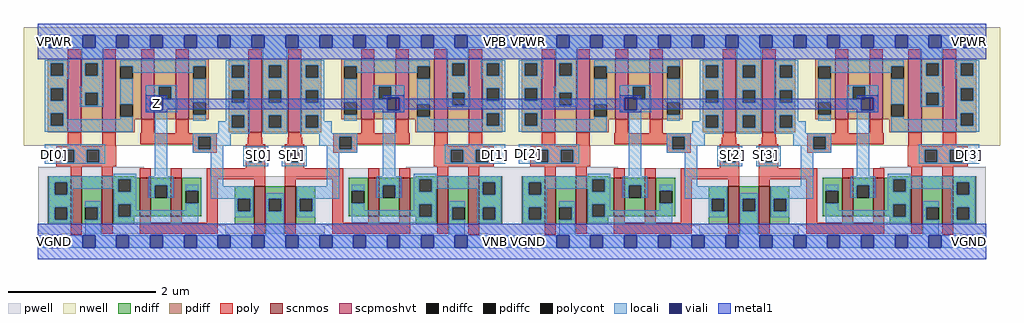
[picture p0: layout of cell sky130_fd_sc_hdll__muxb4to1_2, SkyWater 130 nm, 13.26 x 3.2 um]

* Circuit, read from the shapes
.subckt sky130_fd_sc_hdll__muxb4to1_2 D[3] D[2] D[1] D[0] S[3] S[2] S[1] S[0] VGND VNB VPB VPWR Z
XM1 VGND D[0] n1 VNB sky130_fd_pr__nfet_01v8 w=0.65 l=0.15 m=2
XM2 Z S[0] n1 VNB sky130_fd_pr__nfet_01v8 w=0.52 l=0.15 m=2
XM3 VGND S[0] n2 VNB sky130_fd_pr__nfet_01v8 w=0.52 l=0.15
XM4 n3 S[1] VGND VNB sky130_fd_pr__nfet_01v8 w=0.52 l=0.15
XM5 Z S[1] n4 VNB sky130_fd_pr__nfet_01v8 w=0.52 l=0.15 m=2
XM6 VGND D[1] n4 VNB sky130_fd_pr__nfet_01v8 w=0.65 l=0.15 m=2
XM7 VGND D[2] n5 VNB sky130_fd_pr__nfet_01v8 w=0.65 l=0.15 m=2
XM8 Z S[2] n5 VNB sky130_fd_pr__nfet_01v8 w=0.52 l=0.15 m=2
XM9 VGND S[2] n6 VNB sky130_fd_pr__nfet_01v8 w=0.52 l=0.15
XM10 n7 S[3] VGND VNB sky130_fd_pr__nfet_01v8 w=0.52 l=0.15
XM11 Z S[3] n8 VNB sky130_fd_pr__nfet_01v8 w=0.52 l=0.15 m=2
XM12 VGND D[3] n8 VNB sky130_fd_pr__nfet_01v8 w=0.65 l=0.15 m=2
XM13 VPWR D[0] n9 VPB sky130_fd_pr__pfet_01v8_hvt w=1 l=0.18 m=2
XM14 Z n2 n9 VPB sky130_fd_pr__pfet_01v8_hvt w=0.82 l=0.18 m=2
XM15 VPWR S[0] n2 VPB sky130_fd_pr__pfet_01v8_hvt w=1 l=0.18
XM16 n3 S[1] VPWR VPB sky130_fd_pr__pfet_01v8_hvt w=1 l=0.18
XM17 Z n3 n10 VPB sky130_fd_pr__pfet_01v8_hvt w=0.82 l=0.18 m=2
XM18 VPWR D[1] n10 VPB sky130_fd_pr__pfet_01v8_hvt w=1 l=0.18 m=2
XM19 VPWR D[2] n11 VPB sky130_fd_pr__pfet_01v8_hvt w=1 l=0.18 m=2
XM20 Z n6 n11 VPB sky130_fd_pr__pfet_01v8_hvt w=0.82 l=0.18 m=2
XM21 VPWR S[2] n6 VPB sky130_fd_pr__pfet_01v8_hvt w=1 l=0.18
XM22 n7 S[3] VPWR VPB sky130_fd_pr__pfet_01v8_hvt w=1 l=0.18
XM23 Z n7 n12 VPB sky130_fd_pr__pfet_01v8_hvt w=0.82 l=0.18 m=2
XM24 VPWR D[3] n12 VPB sky130_fd_pr__pfet_01v8_hvt w=1 l=0.18 m=2
.ends

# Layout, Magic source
magic
tech sky130A
magscale 1 2
<< nwell >>
rect -38 261 2614 582
<< pwell >>
rect 1 199 288 203
rect 1000 199 1576 203
rect 2288 199 2575 203
rect 1 177 469 199
rect 819 177 1757 199
rect 2107 177 2575 199
rect 1 43 2575 177
rect 1 21 288 43
rect 509 21 779 43
rect 1000 21 1576 43
rect 1797 21 2067 43
rect 2288 21 2575 43
rect 29 -17 63 21
rect 1225 -17 1351 21
rect 2513 -17 2547 21
<< scnmos >>
rect 89 47 119 177
rect 173 47 203 177
rect 277 69 307 173
rect 361 69 391 173
rect 587 47 617 151
rect 671 47 701 151
rect 897 69 927 173
rect 981 69 1011 173
rect 1085 47 1115 177
rect 1169 47 1199 177
rect 1377 47 1407 177
rect 1461 47 1491 177
rect 1565 69 1595 173
rect 1649 69 1679 173
rect 1875 47 1905 151
rect 1959 47 1989 151
rect 2185 69 2215 173
rect 2269 69 2299 173
rect 2373 47 2403 177
rect 2457 47 2487 177
<< scpmoshvt >>
rect 81 297 117 497
rect 175 297 211 497
rect 280 333 316 497
rect 374 333 410 497
rect 572 297 608 497
rect 680 297 716 497
rect 878 333 914 497
rect 972 333 1008 497
rect 1077 297 1113 497
rect 1171 297 1207 497
rect 1369 297 1405 497
rect 1463 297 1499 497
rect 1568 333 1604 497
rect 1662 333 1698 497
rect 1860 297 1896 497
rect 1968 297 2004 497
rect 2166 333 2202 497
rect 2260 333 2296 497
rect 2365 297 2401 497
rect 2459 297 2495 497
<< ndiff >>
rect 27 161 89 177
rect 27 127 45 161
rect 79 127 89 161
rect 27 93 89 127
rect 27 59 45 93
rect 79 59 89 93
rect 27 47 89 59
rect 119 93 173 177
rect 119 59 129 93
rect 163 59 173 93
rect 119 47 173 59
rect 203 173 262 177
rect 203 169 277 173
rect 203 135 218 169
rect 252 135 277 169
rect 203 101 277 135
rect 203 67 218 101
rect 252 69 277 101
rect 307 153 361 173
rect 307 119 317 153
rect 351 119 361 153
rect 307 69 361 119
rect 391 138 443 173
rect 391 104 401 138
rect 435 104 443 138
rect 391 69 443 104
rect 252 67 262 69
rect 203 47 262 67
rect 1026 173 1085 177
rect 535 116 587 151
rect 535 82 543 116
rect 577 82 587 116
rect 535 47 587 82
rect 617 116 671 151
rect 617 82 627 116
rect 661 82 671 116
rect 617 47 671 82
rect 701 116 753 151
rect 701 82 711 116
rect 745 82 753 116
rect 701 47 753 82
rect 845 138 897 173
rect 845 104 853 138
rect 887 104 897 138
rect 845 69 897 104
rect 927 153 981 173
rect 927 119 937 153
rect 971 119 981 153
rect 927 69 981 119
rect 1011 169 1085 173
rect 1011 135 1036 169
rect 1070 135 1085 169
rect 1011 101 1085 135
rect 1011 69 1036 101
rect 1026 67 1036 69
rect 1070 67 1085 101
rect 1026 47 1085 67
rect 1115 93 1169 177
rect 1115 59 1125 93
rect 1159 59 1169 93
rect 1115 47 1169 59
rect 1199 161 1261 177
rect 1199 127 1209 161
rect 1243 127 1261 161
rect 1199 93 1261 127
rect 1199 59 1209 93
rect 1243 59 1261 93
rect 1199 47 1261 59
rect 1315 161 1377 177
rect 1315 127 1333 161
rect 1367 127 1377 161
rect 1315 93 1377 127
rect 1315 59 1333 93
rect 1367 59 1377 93
rect 1315 47 1377 59
rect 1407 93 1461 177
rect 1407 59 1417 93
rect 1451 59 1461 93
rect 1407 47 1461 59
rect 1491 173 1550 177
rect 1491 169 1565 173
rect 1491 135 1506 169
rect 1540 135 1565 169
rect 1491 101 1565 135
rect 1491 67 1506 101
rect 1540 69 1565 101
rect 1595 153 1649 173
rect 1595 119 1605 153
rect 1639 119 1649 153
rect 1595 69 1649 119
rect 1679 138 1731 173
rect 1679 104 1689 138
rect 1723 104 1731 138
rect 1679 69 1731 104
rect 1540 67 1550 69
rect 1491 47 1550 67
rect 2314 173 2373 177
rect 1823 116 1875 151
rect 1823 82 1831 116
rect 1865 82 1875 116
rect 1823 47 1875 82
rect 1905 116 1959 151
rect 1905 82 1915 116
rect 1949 82 1959 116
rect 1905 47 1959 82
rect 1989 116 2041 151
rect 1989 82 1999 116
rect 2033 82 2041 116
rect 1989 47 2041 82
rect 2133 138 2185 173
rect 2133 104 2141 138
rect 2175 104 2185 138
rect 2133 69 2185 104
rect 2215 153 2269 173
rect 2215 119 2225 153
rect 2259 119 2269 153
rect 2215 69 2269 119
rect 2299 169 2373 173
rect 2299 135 2324 169
rect 2358 135 2373 169
rect 2299 101 2373 135
rect 2299 69 2324 101
rect 2314 67 2324 69
rect 2358 67 2373 101
rect 2314 47 2373 67
rect 2403 93 2457 177
rect 2403 59 2413 93
rect 2447 59 2457 93
rect 2403 47 2457 59
rect 2487 161 2549 177
rect 2487 127 2497 161
rect 2531 127 2549 161
rect 2487 93 2549 127
rect 2487 59 2497 93
rect 2531 59 2549 93
rect 2487 47 2549 59
<< pdiff >>
rect 27 485 81 497
rect 27 451 35 485
rect 69 451 81 485
rect 27 417 81 451
rect 27 383 35 417
rect 69 383 81 417
rect 27 349 81 383
rect 27 315 35 349
rect 69 315 81 349
rect 27 297 81 315
rect 117 485 175 497
rect 117 451 129 485
rect 163 451 175 485
rect 117 405 175 451
rect 117 371 129 405
rect 163 371 175 405
rect 117 297 175 371
rect 211 477 280 497
rect 211 443 223 477
rect 257 443 280 477
rect 211 373 280 443
rect 211 339 223 373
rect 257 339 280 373
rect 211 333 280 339
rect 316 421 374 497
rect 316 387 328 421
rect 362 387 374 421
rect 316 333 374 387
rect 410 477 464 497
rect 410 443 422 477
rect 456 443 464 477
rect 410 379 464 443
rect 410 345 422 379
rect 456 345 464 379
rect 410 333 464 345
rect 518 479 572 497
rect 518 445 526 479
rect 560 445 572 479
rect 518 411 572 445
rect 518 377 526 411
rect 560 377 572 411
rect 518 343 572 377
rect 211 297 263 333
rect 518 309 526 343
rect 560 309 572 343
rect 518 297 572 309
rect 608 479 680 497
rect 608 445 627 479
rect 661 445 680 479
rect 608 411 680 445
rect 608 377 627 411
rect 661 377 680 411
rect 608 343 680 377
rect 608 309 627 343
rect 661 309 680 343
rect 608 297 680 309
rect 716 479 770 497
rect 716 445 728 479
rect 762 445 770 479
rect 716 411 770 445
rect 716 377 728 411
rect 762 377 770 411
rect 716 343 770 377
rect 716 309 728 343
rect 762 309 770 343
rect 824 477 878 497
rect 824 443 832 477
rect 866 443 878 477
rect 824 379 878 443
rect 824 345 832 379
rect 866 345 878 379
rect 824 333 878 345
rect 914 421 972 497
rect 914 387 926 421
rect 960 387 972 421
rect 914 333 972 387
rect 1008 477 1077 497
rect 1008 443 1031 477
rect 1065 443 1077 477
rect 1008 373 1077 443
rect 1008 339 1031 373
rect 1065 339 1077 373
rect 1008 333 1077 339
rect 716 297 770 309
rect 1025 297 1077 333
rect 1113 485 1171 497
rect 1113 451 1125 485
rect 1159 451 1171 485
rect 1113 405 1171 451
rect 1113 371 1125 405
rect 1159 371 1171 405
rect 1113 297 1171 371
rect 1207 485 1261 497
rect 1207 451 1219 485
rect 1253 451 1261 485
rect 1207 417 1261 451
rect 1207 383 1219 417
rect 1253 383 1261 417
rect 1207 349 1261 383
rect 1207 315 1219 349
rect 1253 315 1261 349
rect 1207 297 1261 315
rect 1315 485 1369 497
rect 1315 451 1323 485
rect 1357 451 1369 485
rect 1315 417 1369 451
rect 1315 383 1323 417
rect 1357 383 1369 417
rect 1315 349 1369 383
rect 1315 315 1323 349
rect 1357 315 1369 349
rect 1315 297 1369 315
rect 1405 485 1463 497
rect 1405 451 1417 485
rect 1451 451 1463 485
rect 1405 405 1463 451
rect 1405 371 1417 405
rect 1451 371 1463 405
rect 1405 297 1463 371
rect 1499 477 1568 497
rect 1499 443 1511 477
rect 1545 443 1568 477
rect 1499 373 1568 443
rect 1499 339 1511 373
rect 1545 339 1568 373
rect 1499 333 1568 339
rect 1604 421 1662 497
rect 1604 387 1616 421
rect 1650 387 1662 421
rect 1604 333 1662 387
rect 1698 477 1752 497
rect 1698 443 1710 477
rect 1744 443 1752 477
rect 1698 379 1752 443
rect 1698 345 1710 379
rect 1744 345 1752 379
rect 1698 333 1752 345
rect 1806 479 1860 497
rect 1806 445 1814 479
rect 1848 445 1860 479
rect 1806 411 1860 445
rect 1806 377 1814 411
rect 1848 377 1860 411
rect 1806 343 1860 377
rect 1499 297 1551 333
rect 1806 309 1814 343
rect 1848 309 1860 343
rect 1806 297 1860 309
rect 1896 479 1968 497
rect 1896 445 1915 479
rect 1949 445 1968 479
rect 1896 411 1968 445
rect 1896 377 1915 411
rect 1949 377 1968 411
rect 1896 343 1968 377
rect 1896 309 1915 343
rect 1949 309 1968 343
rect 1896 297 1968 309
rect 2004 479 2058 497
rect 2004 445 2016 479
rect 2050 445 2058 479
rect 2004 411 2058 445
rect 2004 377 2016 411
rect 2050 377 2058 411
rect 2004 343 2058 377
rect 2004 309 2016 343
rect 2050 309 2058 343
rect 2112 477 2166 497
rect 2112 443 2120 477
rect 2154 443 2166 477
rect 2112 379 2166 443
rect 2112 345 2120 379
rect 2154 345 2166 379
rect 2112 333 2166 345
rect 2202 421 2260 497
rect 2202 387 2214 421
rect 2248 387 2260 421
rect 2202 333 2260 387
rect 2296 477 2365 497
rect 2296 443 2319 477
rect 2353 443 2365 477
rect 2296 373 2365 443
rect 2296 339 2319 373
rect 2353 339 2365 373
rect 2296 333 2365 339
rect 2004 297 2058 309
rect 2313 297 2365 333
rect 2401 485 2459 497
rect 2401 451 2413 485
rect 2447 451 2459 485
rect 2401 405 2459 451
rect 2401 371 2413 405
rect 2447 371 2459 405
rect 2401 297 2459 371
rect 2495 485 2549 497
rect 2495 451 2507 485
rect 2541 451 2549 485
rect 2495 417 2549 451
rect 2495 383 2507 417
rect 2541 383 2549 417
rect 2495 349 2549 383
rect 2495 315 2507 349
rect 2541 315 2549 349
rect 2495 297 2549 315
<< ndiffc >>
rect 45 127 79 161
rect 45 59 79 93
rect 129 59 163 93
rect 218 135 252 169
rect 218 67 252 101
rect 317 119 351 153
rect 401 104 435 138
rect 543 82 577 116
rect 627 82 661 116
rect 711 82 745 116
rect 853 104 887 138
rect 937 119 971 153
rect 1036 135 1070 169
rect 1036 67 1070 101
rect 1125 59 1159 93
rect 1209 127 1243 161
rect 1209 59 1243 93
rect 1333 127 1367 161
rect 1333 59 1367 93
rect 1417 59 1451 93
rect 1506 135 1540 169
rect 1506 67 1540 101
rect 1605 119 1639 153
rect 1689 104 1723 138
rect 1831 82 1865 116
rect 1915 82 1949 116
rect 1999 82 2033 116
rect 2141 104 2175 138
rect 2225 119 2259 153
rect 2324 135 2358 169
rect 2324 67 2358 101
rect 2413 59 2447 93
rect 2497 127 2531 161
rect 2497 59 2531 93
<< pdiffc >>
rect 35 451 69 485
rect 35 383 69 417
rect 35 315 69 349
rect 129 451 163 485
rect 129 371 163 405
rect 223 443 257 477
rect 223 339 257 373
rect 328 387 362 421
rect 422 443 456 477
rect 422 345 456 379
rect 526 445 560 479
rect 526 377 560 411
rect 526 309 560 343
rect 627 445 661 479
rect 627 377 661 411
rect 627 309 661 343
rect 728 445 762 479
rect 728 377 762 411
rect 728 309 762 343
rect 832 443 866 477
rect 832 345 866 379
rect 926 387 960 421
rect 1031 443 1065 477
rect 1031 339 1065 373
rect 1125 451 1159 485
rect 1125 371 1159 405
rect 1219 451 1253 485
rect 1219 383 1253 417
rect 1219 315 1253 349
rect 1323 451 1357 485
rect 1323 383 1357 417
rect 1323 315 1357 349
rect 1417 451 1451 485
rect 1417 371 1451 405
rect 1511 443 1545 477
rect 1511 339 1545 373
rect 1616 387 1650 421
rect 1710 443 1744 477
rect 1710 345 1744 379
rect 1814 445 1848 479
rect 1814 377 1848 411
rect 1814 309 1848 343
rect 1915 445 1949 479
rect 1915 377 1949 411
rect 1915 309 1949 343
rect 2016 445 2050 479
rect 2016 377 2050 411
rect 2016 309 2050 343
rect 2120 443 2154 477
rect 2120 345 2154 379
rect 2214 387 2248 421
rect 2319 443 2353 477
rect 2319 339 2353 373
rect 2413 451 2447 485
rect 2413 371 2447 405
rect 2507 451 2541 485
rect 2507 383 2541 417
rect 2507 315 2541 349
<< poly >>
rect 81 497 117 523
rect 175 497 211 523
rect 280 497 316 523
rect 374 497 410 523
rect 572 497 608 523
rect 680 497 716 523
rect 878 497 914 523
rect 972 497 1008 523
rect 1077 497 1113 523
rect 1171 497 1207 523
rect 1369 497 1405 523
rect 1463 497 1499 523
rect 1568 497 1604 523
rect 1662 497 1698 523
rect 1860 497 1896 523
rect 1968 497 2004 523
rect 2166 497 2202 523
rect 2260 497 2296 523
rect 2365 497 2401 523
rect 2459 497 2495 523
rect 81 259 117 297
rect 175 259 211 297
rect 280 295 316 333
rect 374 295 410 333
rect 278 285 486 295
rect 278 265 436 285
rect 49 249 213 259
rect 49 215 65 249
rect 99 215 133 249
rect 167 215 213 249
rect 420 251 436 265
rect 470 251 486 285
rect 572 282 608 297
rect 680 282 716 297
rect 878 295 914 333
rect 972 295 1008 333
rect 802 285 1010 295
rect 570 265 610 282
rect 678 265 718 282
rect 420 241 486 251
rect 564 249 618 265
rect 49 205 213 215
rect 564 215 574 249
rect 608 215 618 249
rect 89 177 119 205
rect 173 177 203 205
rect 564 199 618 215
rect 670 249 724 265
rect 670 215 680 249
rect 714 215 724 249
rect 802 251 818 285
rect 852 265 1010 285
rect 852 251 868 265
rect 1077 259 1113 297
rect 1171 259 1207 297
rect 1369 259 1405 297
rect 1463 259 1499 297
rect 1568 295 1604 333
rect 1662 295 1698 333
rect 1566 285 1774 295
rect 1566 265 1724 285
rect 802 241 868 251
rect 1075 249 1239 259
rect 670 199 724 215
rect 1075 215 1121 249
rect 1155 215 1189 249
rect 1223 215 1239 249
rect 1075 205 1239 215
rect 1337 249 1501 259
rect 1337 215 1353 249
rect 1387 215 1421 249
rect 1455 215 1501 249
rect 1708 251 1724 265
rect 1758 251 1774 285
rect 1860 282 1896 297
rect 1968 282 2004 297
rect 2166 295 2202 333
rect 2260 295 2296 333
rect 2090 285 2298 295
rect 1858 265 1898 282
rect 1966 265 2006 282
rect 1708 241 1774 251
rect 1852 249 1906 265
rect 1337 205 1501 215
rect 1852 215 1862 249
rect 1896 215 1906 249
rect 277 173 307 199
rect 361 173 391 199
rect 458 169 617 199
rect 277 51 307 69
rect 361 51 391 69
rect 458 51 488 169
rect 587 151 617 169
rect 671 169 830 199
rect 897 173 927 199
rect 981 173 1011 199
rect 1085 177 1115 205
rect 1169 177 1199 205
rect 1377 177 1407 205
rect 1461 177 1491 205
rect 1852 199 1906 215
rect 1958 249 2012 265
rect 1958 215 1968 249
rect 2002 215 2012 249
rect 2090 251 2106 285
rect 2140 265 2298 285
rect 2140 251 2156 265
rect 2365 259 2401 297
rect 2459 259 2495 297
rect 2090 241 2156 251
rect 2363 249 2527 259
rect 1958 199 2012 215
rect 2363 215 2409 249
rect 2443 215 2477 249
rect 2511 215 2527 249
rect 2363 205 2527 215
rect 671 151 701 169
rect 89 19 119 47
rect 173 21 203 47
rect 277 21 488 51
rect 800 51 830 169
rect 897 51 927 69
rect 981 51 1011 69
rect 587 21 617 47
rect 671 21 701 47
rect 800 21 1011 51
rect 1565 173 1595 199
rect 1649 173 1679 199
rect 1746 169 1905 199
rect 1565 51 1595 69
rect 1649 51 1679 69
rect 1746 51 1776 169
rect 1875 151 1905 169
rect 1959 169 2118 199
rect 2185 173 2215 199
rect 2269 173 2299 199
rect 2373 177 2403 205
rect 2457 177 2487 205
rect 1959 151 1989 169
rect 1085 21 1115 47
rect 1169 19 1199 47
rect 1377 19 1407 47
rect 1461 21 1491 47
rect 1565 21 1776 51
rect 2088 51 2118 169
rect 2185 51 2215 69
rect 2269 51 2299 69
rect 1875 21 1905 47
rect 1959 21 1989 47
rect 2088 21 2299 51
rect 2373 21 2403 47
rect 2457 19 2487 47
<< polycont >>
rect 65 215 99 249
rect 133 215 167 249
rect 436 251 470 285
rect 574 215 608 249
rect 680 215 714 249
rect 818 251 852 285
rect 1121 215 1155 249
rect 1189 215 1223 249
rect 1353 215 1387 249
rect 1421 215 1455 249
rect 1724 251 1758 285
rect 1862 215 1896 249
rect 1968 215 2002 249
rect 2106 251 2140 285
rect 2409 215 2443 249
rect 2477 215 2511 249
<< locali >>
rect 0 527 29 561
rect 63 527 121 561
rect 155 527 213 561
rect 247 527 305 561
rect 339 527 397 561
rect 431 527 489 561
rect 523 527 581 561
rect 615 527 673 561
rect 707 527 765 561
rect 799 527 857 561
rect 891 527 949 561
rect 983 527 1041 561
rect 1075 527 1133 561
rect 1167 527 1225 561
rect 1259 527 1317 561
rect 1351 527 1409 561
rect 1443 527 1501 561
rect 1535 527 1593 561
rect 1627 527 1685 561
rect 1719 527 1777 561
rect 1811 527 1869 561
rect 1903 527 1961 561
rect 1995 527 2053 561
rect 2087 527 2145 561
rect 2179 527 2237 561
rect 2271 527 2329 561
rect 2363 527 2421 561
rect 2455 527 2513 561
rect 2547 527 2576 561
rect 19 485 85 493
rect 19 451 35 485
rect 69 451 85 485
rect 19 442 85 451
rect 119 485 179 527
rect 119 451 129 485
rect 163 451 179 485
rect 19 417 79 442
rect 119 421 179 451
rect 19 383 35 417
rect 69 383 79 417
rect 19 349 79 383
rect 113 405 179 421
rect 113 371 129 405
rect 163 371 179 405
rect 113 367 179 371
rect 223 477 456 493
rect 257 459 422 477
rect 223 373 257 443
rect 19 315 35 349
rect 69 333 79 349
rect 293 421 379 425
rect 293 391 328 421
rect 293 357 305 391
rect 362 387 379 421
rect 339 357 379 387
rect 293 351 379 357
rect 422 379 456 443
rect 223 333 257 339
rect 69 315 257 333
rect 19 299 257 315
rect 19 249 183 265
rect 19 215 65 249
rect 99 215 133 249
rect 167 215 183 249
rect 19 211 183 215
rect 206 177 267 185
rect 317 177 351 351
rect 422 329 456 345
rect 510 479 576 493
rect 510 445 526 479
rect 560 445 576 479
rect 510 411 576 445
rect 510 377 526 411
rect 560 377 576 411
rect 510 343 576 377
rect 510 327 526 343
rect 490 309 526 327
rect 560 309 576 343
rect 490 295 576 309
rect 420 293 576 295
rect 611 479 677 527
rect 611 445 627 479
rect 661 445 677 479
rect 611 411 677 445
rect 611 377 627 411
rect 661 377 677 411
rect 611 343 677 377
rect 611 309 627 343
rect 661 309 677 343
rect 611 293 677 309
rect 712 479 778 493
rect 712 445 728 479
rect 762 445 778 479
rect 712 411 778 445
rect 712 377 728 411
rect 762 377 778 411
rect 712 343 778 377
rect 712 309 728 343
rect 762 327 778 343
rect 832 477 1065 493
rect 866 459 1031 477
rect 832 379 866 443
rect 909 421 995 425
rect 909 387 926 421
rect 960 391 995 421
rect 909 357 949 387
rect 983 357 995 391
rect 909 351 995 357
rect 1031 373 1065 443
rect 832 329 866 345
rect 762 309 798 327
rect 712 295 798 309
rect 712 293 868 295
rect 420 285 524 293
rect 420 251 436 285
rect 470 261 524 285
rect 764 285 868 293
rect 764 261 818 285
rect 470 251 503 261
rect 420 241 503 251
rect 29 169 267 177
rect 29 161 218 169
rect 29 127 45 161
rect 79 143 218 161
rect 79 127 95 143
rect 29 93 95 127
rect 206 135 218 143
rect 252 135 267 169
rect 29 59 45 93
rect 79 59 95 93
rect 29 51 95 59
rect 129 93 172 109
rect 163 59 172 93
rect 129 17 172 59
rect 206 101 267 135
rect 301 153 367 177
rect 301 119 317 153
rect 351 119 367 153
rect 401 138 435 154
rect 206 67 218 101
rect 252 85 267 101
rect 469 151 503 241
rect 558 249 625 259
rect 558 215 574 249
rect 608 215 625 249
rect 558 205 625 215
rect 663 249 730 259
rect 663 215 680 249
rect 714 215 730 249
rect 663 205 730 215
rect 785 251 818 261
rect 852 251 868 285
rect 785 241 868 251
rect 785 151 819 241
rect 937 177 971 351
rect 1109 485 1169 527
rect 1109 451 1125 485
rect 1159 451 1169 485
rect 1109 421 1169 451
rect 1203 485 1269 493
rect 1203 451 1219 485
rect 1253 451 1269 485
rect 1203 442 1269 451
rect 1109 405 1175 421
rect 1109 371 1125 405
rect 1159 371 1175 405
rect 1109 367 1175 371
rect 1209 417 1269 442
rect 1209 383 1219 417
rect 1253 383 1269 417
rect 1031 333 1065 339
rect 1209 349 1269 383
rect 1209 333 1219 349
rect 1031 315 1219 333
rect 1253 315 1269 349
rect 1031 299 1269 315
rect 1307 485 1373 493
rect 1307 451 1323 485
rect 1357 451 1373 485
rect 1307 442 1373 451
rect 1407 485 1467 527
rect 1407 451 1417 485
rect 1451 451 1467 485
rect 1307 417 1367 442
rect 1407 421 1467 451
rect 1307 383 1323 417
rect 1357 383 1367 417
rect 1307 349 1367 383
rect 1401 405 1467 421
rect 1401 371 1417 405
rect 1451 371 1467 405
rect 1401 367 1467 371
rect 1511 477 1744 493
rect 1545 459 1710 477
rect 1511 373 1545 443
rect 1307 315 1323 349
rect 1357 333 1367 349
rect 1581 421 1667 425
rect 1581 391 1616 421
rect 1581 357 1593 391
rect 1650 387 1667 421
rect 1627 357 1667 387
rect 1581 351 1667 357
rect 1710 379 1744 443
rect 1511 333 1545 339
rect 1357 315 1545 333
rect 1307 299 1545 315
rect 1105 249 1269 265
rect 1105 215 1121 249
rect 1155 215 1189 249
rect 1223 215 1269 249
rect 1105 211 1269 215
rect 1307 249 1471 265
rect 1307 215 1353 249
rect 1387 215 1421 249
rect 1455 215 1471 249
rect 1307 211 1471 215
rect 1021 177 1082 185
rect 1494 177 1555 185
rect 1605 177 1639 351
rect 1710 329 1744 345
rect 1798 479 1864 493
rect 1798 445 1814 479
rect 1848 445 1864 479
rect 1798 411 1864 445
rect 1798 377 1814 411
rect 1848 377 1864 411
rect 1798 343 1864 377
rect 1798 327 1814 343
rect 1778 309 1814 327
rect 1848 309 1864 343
rect 1778 295 1864 309
rect 1708 293 1864 295
rect 1899 479 1965 527
rect 1899 445 1915 479
rect 1949 445 1965 479
rect 1899 411 1965 445
rect 1899 377 1915 411
rect 1949 377 1965 411
rect 1899 343 1965 377
rect 1899 309 1915 343
rect 1949 309 1965 343
rect 1899 293 1965 309
rect 2000 479 2066 493
rect 2000 445 2016 479
rect 2050 445 2066 479
rect 2000 411 2066 445
rect 2000 377 2016 411
rect 2050 377 2066 411
rect 2000 343 2066 377
rect 2000 309 2016 343
rect 2050 327 2066 343
rect 2120 477 2353 493
rect 2154 459 2319 477
rect 2120 379 2154 443
rect 2197 421 2283 425
rect 2197 387 2214 421
rect 2248 391 2283 421
rect 2197 357 2237 387
rect 2271 357 2283 391
rect 2197 351 2283 357
rect 2319 373 2353 443
rect 2120 329 2154 345
rect 2050 309 2086 327
rect 2000 295 2086 309
rect 2000 293 2156 295
rect 1708 285 1812 293
rect 1708 251 1724 285
rect 1758 261 1812 285
rect 2052 285 2156 293
rect 2052 261 2106 285
rect 1758 251 1791 261
rect 1708 241 1791 251
rect 469 117 585 151
rect 401 85 435 104
rect 252 67 435 85
rect 206 51 435 67
rect 535 116 585 117
rect 535 82 543 116
rect 577 82 585 116
rect 535 66 585 82
rect 619 116 669 132
rect 619 82 627 116
rect 661 82 669 116
rect 619 17 669 82
rect 703 117 819 151
rect 853 138 887 154
rect 703 116 753 117
rect 703 82 711 116
rect 745 82 753 116
rect 703 66 753 82
rect 921 153 987 177
rect 921 119 937 153
rect 971 119 987 153
rect 1021 169 1259 177
rect 1021 135 1036 169
rect 1070 161 1259 169
rect 1070 143 1209 161
rect 1070 135 1082 143
rect 853 85 887 104
rect 1021 101 1082 135
rect 1193 127 1209 143
rect 1243 127 1259 161
rect 1021 85 1036 101
rect 853 67 1036 85
rect 1070 67 1082 101
rect 853 51 1082 67
rect 1116 93 1159 109
rect 1116 59 1125 93
rect 1116 17 1159 59
rect 1193 93 1259 127
rect 1193 59 1209 93
rect 1243 59 1259 93
rect 1193 51 1259 59
rect 1317 169 1555 177
rect 1317 161 1506 169
rect 1317 127 1333 161
rect 1367 143 1506 161
rect 1367 127 1383 143
rect 1317 93 1383 127
rect 1494 135 1506 143
rect 1540 135 1555 169
rect 1317 59 1333 93
rect 1367 59 1383 93
rect 1317 51 1383 59
rect 1417 93 1460 109
rect 1451 59 1460 93
rect 1417 17 1460 59
rect 1494 101 1555 135
rect 1589 153 1655 177
rect 1589 119 1605 153
rect 1639 119 1655 153
rect 1689 138 1723 154
rect 1494 67 1506 101
rect 1540 85 1555 101
rect 1757 151 1791 241
rect 1846 249 1913 259
rect 1846 215 1862 249
rect 1896 215 1913 249
rect 1846 205 1913 215
rect 1951 249 2018 259
rect 1951 215 1968 249
rect 2002 215 2018 249
rect 1951 205 2018 215
rect 2073 251 2106 261
rect 2140 251 2156 285
rect 2073 241 2156 251
rect 2073 151 2107 241
rect 2225 177 2259 351
rect 2397 485 2457 527
rect 2397 451 2413 485
rect 2447 451 2457 485
rect 2397 421 2457 451
rect 2491 485 2557 493
rect 2491 451 2507 485
rect 2541 451 2557 485
rect 2491 442 2557 451
rect 2397 405 2463 421
rect 2397 371 2413 405
rect 2447 371 2463 405
rect 2397 367 2463 371
rect 2497 417 2557 442
rect 2497 383 2507 417
rect 2541 383 2557 417
rect 2319 333 2353 339
rect 2497 349 2557 383
rect 2497 333 2507 349
rect 2319 315 2507 333
rect 2541 315 2557 349
rect 2319 299 2557 315
rect 2393 249 2557 265
rect 2393 215 2409 249
rect 2443 215 2477 249
rect 2511 215 2557 249
rect 2393 211 2557 215
rect 2309 177 2370 185
rect 1757 117 1873 151
rect 1689 85 1723 104
rect 1540 67 1723 85
rect 1494 51 1723 67
rect 1823 116 1873 117
rect 1823 82 1831 116
rect 1865 82 1873 116
rect 1823 66 1873 82
rect 1907 116 1957 132
rect 1907 82 1915 116
rect 1949 82 1957 116
rect 1907 17 1957 82
rect 1991 117 2107 151
rect 2141 138 2175 154
rect 1991 116 2041 117
rect 1991 82 1999 116
rect 2033 82 2041 116
rect 1991 66 2041 82
rect 2209 153 2275 177
rect 2209 119 2225 153
rect 2259 119 2275 153
rect 2309 169 2547 177
rect 2309 135 2324 169
rect 2358 161 2547 169
rect 2358 143 2497 161
rect 2358 135 2370 143
rect 2141 85 2175 104
rect 2309 101 2370 135
rect 2481 127 2497 143
rect 2531 127 2547 161
rect 2309 85 2324 101
rect 2141 67 2324 85
rect 2358 67 2370 101
rect 2141 51 2370 67
rect 2404 93 2447 109
rect 2404 59 2413 93
rect 2404 17 2447 59
rect 2481 93 2547 127
rect 2481 59 2497 93
rect 2531 59 2547 93
rect 2481 51 2547 59
rect 0 -17 29 17
rect 63 -17 121 17
rect 155 -17 213 17
rect 247 -17 305 17
rect 339 -17 397 17
rect 431 -17 489 17
rect 523 -17 581 17
rect 615 -17 673 17
rect 707 -17 765 17
rect 799 -17 857 17
rect 891 -17 949 17
rect 983 -17 1041 17
rect 1075 -17 1133 17
rect 1167 -17 1225 17
rect 1259 -17 1317 17
rect 1351 -17 1409 17
rect 1443 -17 1501 17
rect 1535 -17 1593 17
rect 1627 -17 1685 17
rect 1719 -17 1777 17
rect 1811 -17 1869 17
rect 1903 -17 1961 17
rect 1995 -17 2053 17
rect 2087 -17 2145 17
rect 2179 -17 2237 17
rect 2271 -17 2329 17
rect 2363 -17 2421 17
rect 2455 -17 2513 17
rect 2547 -17 2576 17
<< viali >>
rect 29 527 63 561
rect 121 527 155 561
rect 213 527 247 561
rect 305 527 339 561
rect 397 527 431 561
rect 489 527 523 561
rect 581 527 615 561
rect 673 527 707 561
rect 765 527 799 561
rect 857 527 891 561
rect 949 527 983 561
rect 1041 527 1075 561
rect 1133 527 1167 561
rect 1225 527 1259 561
rect 1317 527 1351 561
rect 1409 527 1443 561
rect 1501 527 1535 561
rect 1593 527 1627 561
rect 1685 527 1719 561
rect 1777 527 1811 561
rect 1869 527 1903 561
rect 1961 527 1995 561
rect 2053 527 2087 561
rect 2145 527 2179 561
rect 2237 527 2271 561
rect 2329 527 2363 561
rect 2421 527 2455 561
rect 2513 527 2547 561
rect 305 387 328 391
rect 328 387 339 391
rect 305 357 339 387
rect 949 387 960 391
rect 960 387 983 391
rect 949 357 983 387
rect 1593 387 1616 391
rect 1616 387 1627 391
rect 1593 357 1627 387
rect 2237 387 2248 391
rect 2248 387 2271 391
rect 2237 357 2271 387
rect 29 -17 63 17
rect 121 -17 155 17
rect 213 -17 247 17
rect 305 -17 339 17
rect 397 -17 431 17
rect 489 -17 523 17
rect 581 -17 615 17
rect 673 -17 707 17
rect 765 -17 799 17
rect 857 -17 891 17
rect 949 -17 983 17
rect 1041 -17 1075 17
rect 1133 -17 1167 17
rect 1225 -17 1259 17
rect 1317 -17 1351 17
rect 1409 -17 1443 17
rect 1501 -17 1535 17
rect 1593 -17 1627 17
rect 1685 -17 1719 17
rect 1777 -17 1811 17
rect 1869 -17 1903 17
rect 1961 -17 1995 17
rect 2053 -17 2087 17
rect 2145 -17 2179 17
rect 2237 -17 2271 17
rect 2329 -17 2363 17
rect 2421 -17 2455 17
rect 2513 -17 2547 17
<< metal1 >>
rect 0 561 2576 592
rect 0 527 29 561
rect 63 527 121 561
rect 155 527 213 561
rect 247 527 305 561
rect 339 527 397 561
rect 431 527 489 561
rect 523 527 581 561
rect 615 527 673 561
rect 707 527 765 561
rect 799 527 857 561
rect 891 527 949 561
rect 983 527 1041 561
rect 1075 527 1133 561
rect 1167 527 1225 561
rect 1259 527 1317 561
rect 1351 527 1409 561
rect 1443 527 1501 561
rect 1535 527 1593 561
rect 1627 527 1685 561
rect 1719 527 1777 561
rect 1811 527 1869 561
rect 1903 527 1961 561
rect 1995 527 2053 561
rect 2087 527 2145 561
rect 2179 527 2237 561
rect 2271 527 2329 561
rect 2363 527 2421 561
rect 2455 527 2513 561
rect 2547 527 2576 561
rect 0 496 2576 527
rect 293 391 351 397
rect 293 357 305 391
rect 339 388 351 391
rect 937 391 995 397
rect 937 388 949 391
rect 339 360 949 388
rect 339 357 351 360
rect 293 351 351 357
rect 937 357 949 360
rect 983 388 995 391
rect 1581 391 1639 397
rect 1581 388 1593 391
rect 983 360 1593 388
rect 983 357 995 360
rect 937 351 995 357
rect 1581 357 1593 360
rect 1627 388 1639 391
rect 2225 391 2283 397
rect 2225 388 2237 391
rect 1627 360 2237 388
rect 1627 357 1639 360
rect 1581 351 1639 357
rect 2225 357 2237 360
rect 2271 357 2283 391
rect 2225 351 2283 357
rect 0 17 2576 48
rect 0 -17 29 17
rect 63 -17 121 17
rect 155 -17 213 17
rect 247 -17 305 17
rect 339 -17 397 17
rect 431 -17 489 17
rect 523 -17 581 17
rect 615 -17 673 17
rect 707 -17 765 17
rect 799 -17 857 17
rect 891 -17 949 17
rect 983 -17 1041 17
rect 1075 -17 1133 17
rect 1167 -17 1225 17
rect 1259 -17 1317 17
rect 1351 -17 1409 17
rect 1443 -17 1501 17
rect 1535 -17 1593 17
rect 1627 -17 1685 17
rect 1719 -17 1777 17
rect 1811 -17 1869 17
rect 1903 -17 1961 17
rect 1995 -17 2053 17
rect 2087 -17 2145 17
rect 2179 -17 2237 17
rect 2271 -17 2329 17
rect 2363 -17 2421 17
rect 2455 -17 2513 17
rect 2547 -17 2576 17
rect 0 -48 2576 -17
<< labels >>
flabel metal1 s 29 -17 63 17 0 FreeSans 200 0 0 0 VGND
port 9 nsew ground bidirectional
flabel metal1 s 29 527 63 561 0 FreeSans 200 0 0 0 VPWR
port 12 nsew power bidirectional
flabel metal1 s 305 357 339 391 0 FreeSans 200 0 0 0 Z
port 13 nsew signal output
flabel metal1 s 1317 -17 1351 17 0 FreeSans 200 0 0 0 VGND
port 9 nsew ground bidirectional
flabel metal1 s 1317 527 1351 561 0 FreeSans 200 0 0 0 VPWR
port 12 nsew power bidirectional
flabel metal1 s 2513 527 2547 561 0 FreeSans 200 180 0 0 VPWR
port 12 nsew power bidirectional
flabel metal1 s 2513 -17 2547 17 0 FreeSans 200 180 0 0 VGND
port 9 nsew ground bidirectional
flabel metal1 s 1225 -17 1259 17 0 FreeSans 200 180 0 0 VGND
port 9 nsew ground bidirectional
flabel metal1 s 1225 527 1259 561 0 FreeSans 200 180 0 0 VPWR
port 12 nsew power bidirectional
flabel metal1 s 46 0 46 0 0 FreeSans 200 0 0 0 VGND
port 9 nsew
flabel metal1 s 46 544 46 544 0 FreeSans 200 0 0 0 VPWR
port 12 nsew
flabel pwell s 29 -17 63 17 0 FreeSans 200 0 0 0 VNB
port 10 nsew ground bidirectional
flabel pwell s 1317 -17 1351 17 0 FreeSans 200 0 0 0 VNB
port 10 nsew ground bidirectional
flabel pwell s 2513 -17 2547 17 0 FreeSans 200 180 0 0 VNB
port 10 nsew ground bidirectional
flabel pwell s 1225 -17 1259 17 0 FreeSans 200 180 0 0 VNB
port 10 nsew ground bidirectional
flabel pwell s 46 0 46 0 0 FreeSans 200 0 0 0 VNB
port 10 nsew
flabel nwell s 29 527 63 561 0 FreeSans 200 0 0 0 VPB
port 11 nsew power bidirectional
flabel nwell s 1317 527 1351 561 0 FreeSans 200 0 0 0 VPB
port 11 nsew power bidirectional
flabel nwell s 2513 527 2547 561 0 FreeSans 200 180 0 0 VPB
port 11 nsew power bidirectional
flabel nwell s 1225 527 1259 561 0 FreeSans 200 180 0 0 VPB
port 11 nsew power bidirectional
flabel nwell s 46 544 46 544 0 FreeSans 200 0 0 0 VPB
port 11 nsew
rlabel comment s 0 0 0 0 4 muxb4to1_2
flabel locali s 673 221 707 255 0 FreeSans 200 0 0 0 S[1]
port 7 nsew signal input
flabel locali s 1869 221 1903 255 0 FreeSans 200 0 0 0 S[2]
port 6 nsew signal input
flabel locali s 1961 221 1995 255 0 FreeSans 200 0 0 0 S[3]
port 5 nsew signal input
flabel locali s 1225 221 1259 255 0 FreeSans 200 0 0 0 D[1]
port 3 nsew signal input
flabel locali s 29 221 63 255 0 FreeSans 200 0 0 0 D[0]
port 4 nsew signal input
flabel locali s 1317 221 1351 256 0 FreeSans 200 0 0 0 D[2]
port 2 nsew signal input
flabel locali s 2513 221 2547 255 0 FreeSans 200 0 0 0 D[3]
port 1 nsew signal input
flabel locali s 581 221 615 255 0 FreeSans 200 0 0 0 S[0]
port 8 nsew signal input
rlabel metal1 s 0 -48 2576 48 1 VGND
port 9 nsew ground bidirectional
rlabel pwell s 2513 -17 2547 17 1 VNB
port 10 nsew ground bidirectional
rlabel pwell s 1225 -17 1259 17 1 VNB
port 10 nsew ground bidirectional
rlabel pwell s 1317 -17 1351 17 1 VNB
port 10 nsew ground bidirectional
rlabel metal1 s 0 496 2576 592 1 VPWR
port 12 nsew power bidirectional
<< properties >>
string LEFsite unithd
string LEFclass CORE
string FIXED_BBOX 0 0 2576 544
string GDS_FILE $PDKPATH/libs.ref/sky130_fd_sc_hdll/gds/sky130_fd_sc_hdll.gds
string LEFsymmetry X Y R90
string GDS_END 3081232
string GDS_START 3051490
string LEFproperties maskLayoutSubType "abstract" prCellType "standard" originalViewName "layout"
<< end >>
